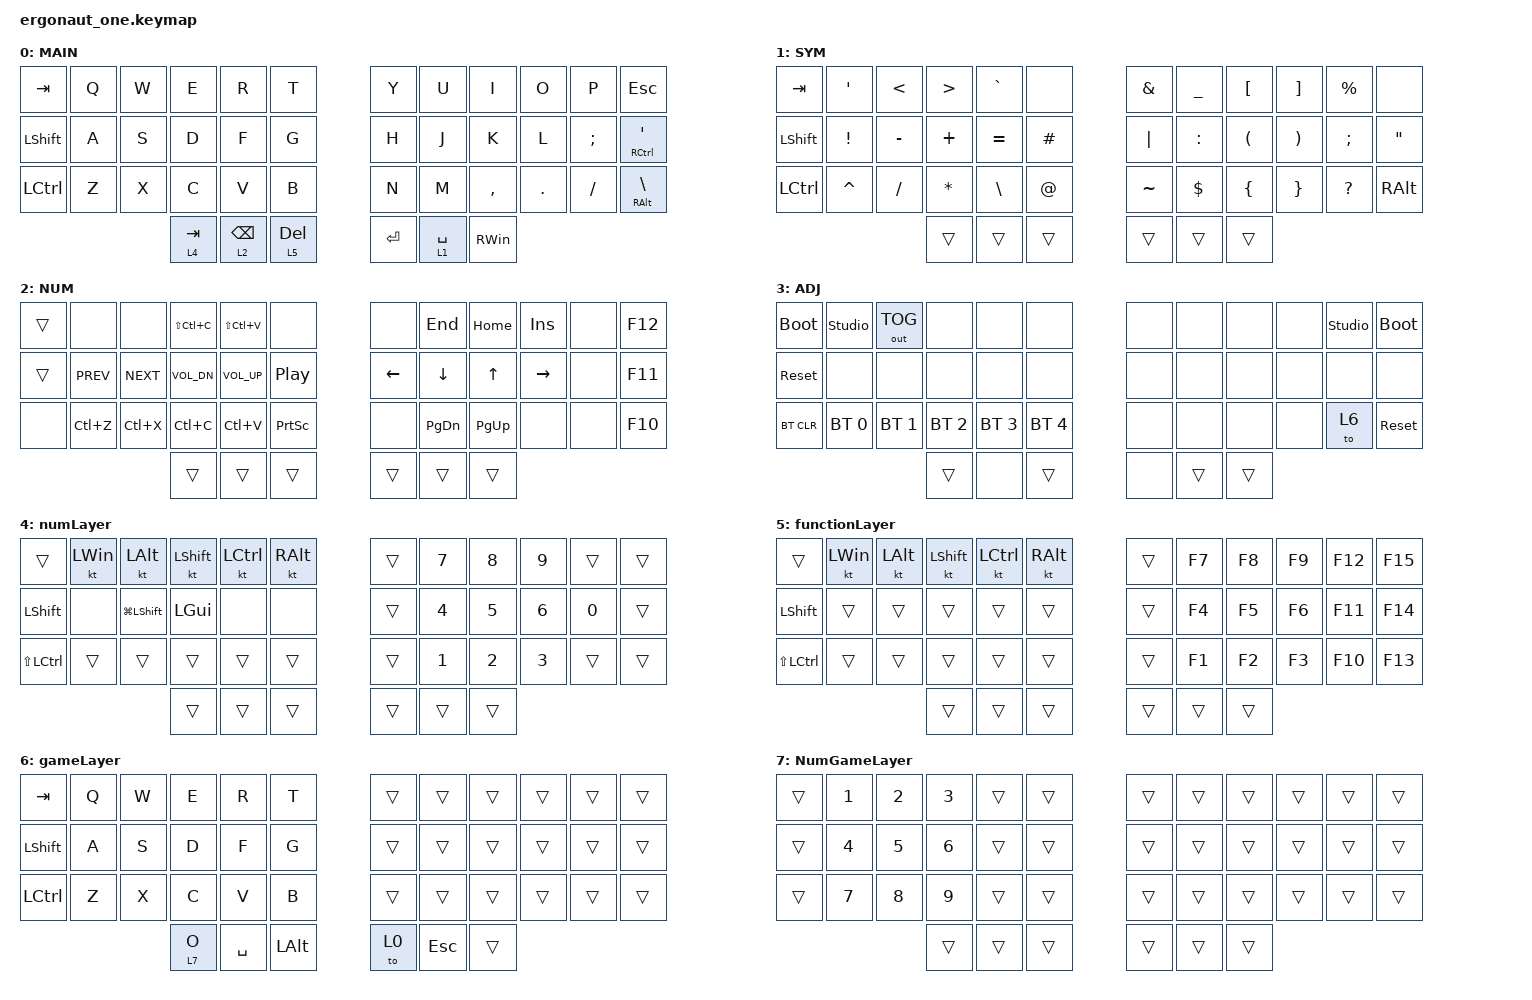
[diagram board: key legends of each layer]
#include <behaviors.dtsi>
#include <dt-bindings/zmk/bt.h>
#include <dt-bindings/zmk/keys.h>
#include <dt-bindings/zmk/outputs.h>

#define DEF 0
#define LWR 1
#define RSE 2
#define ADJ 3

&lt { quick-tap-ms = <200>; };

&mt { quick-tap-ms = <200>; };

/ {
    conditional_layers {
        compatible = "zmk,conditional-layers";

        config {
            if-layers = <2 1>;
            then-layer = <3>;
        };
    };

    keymap {
        compatible = "zmk,keymap";

        default_layer {
            display-name = "MAIN";
            bindings = <
&kp TAB         &kp Q  &kp W  &kp E      &kp R            &kp T      &kp Y      &kp U        &kp I          &kp O    &kp P     &kp ESC
&kp LEFT_SHIFT  &kp A  &kp S  &kp D      &kp F            &kp G      &kp H      &kp J        &kp K          &kp L    &kp SEMI  &mt RCTRL SQT
&kp LCTRL       &kp Z  &kp X  &kp C      &kp V            &kp B      &kp N      &kp M        &kp COMMA      &kp DOT  &kp FSLH  &mt RIGHT_ALT BACKSLASH
                              &lt 4 TAB  &lt 2 BACKSPACE  &lt 5 DEL  &kp ENTER  &lt 1 SPACE  &kp RIGHT_WIN
            >;
        };

        symbolLayer {
            display-name = "SYM";
            bindings = <
&kp TAB         &kp SQT          &kp LESS_THAN  &kp GREATER_THAN  &kp GRAVE      &none        &kp AMPERSAND  &kp UNDERSCORE  &kp LEFT_BRACKET      &kp RIGHT_BRACKET      &kp PERCENT    &none
&kp LEFT_SHIFT  &kp EXCLAMATION  &kp MINUS      &kp PLUS          &kp EQUAL      &kp HASH     &kp PIPE       &kp COLON       &kp LEFT_PARENTHESIS  &kp RIGHT_PARENTHESIS  &kp SEMICOLON  &kp DOUBLE_QUOTES
&kp LCTRL       &kp CARET        &kp SLASH      &kp ASTERISK      &kp BACKSLASH  &kp AT_SIGN  &kp TILDE      &kp DOLLAR      &kp LEFT_BRACE        &kp RIGHT_BRACE        &kp QUESTION   &kp RALT
                                                &trans            &trans         &trans       &trans         &trans          &trans
            >;
        };

        navigationLayer {
            display-name = "NUM";
            bindings = <
&trans  &none       &none       &kp LS(LC(C))  &kp LS(LC(V))  &none             &none           &kp END         &kp HOME      &kp INS    &none  &kp F12
&trans  &kp C_PREV  &kp C_NEXT  &kp C_VOL_DN   &kp C_VOL_UP   &kp C_PLAY_PAUSE  &kp LEFT_ARROW  &kp DOWN_ARROW  &kp UP_ARROW  &kp RIGHT  &none  &kp F11
&none   &kp LC(Z)   &kp LC(X)   &kp LC(C)      &kp LC(V)      &kp PRINTSCREEN   &none           &kp PAGE_DOWN   &kp PAGE_UP   &none      &none  &kp F10
                                &trans         &trans         &trans            &trans          &trans          &trans
            >;
        };

        configLayer {
            display-name = "ADJ";
            bindings = <
&bootloader  &studio_unlock  &out OUT_TOG  &none         &none         &none         &none  &none   &none   &none  &studio_unlock  &bootloader
&sys_reset   &none           &none         &none         &none         &none         &none  &none   &none   &none  &none           &none
&bt BT_CLR   &bt BT_SEL 0    &bt BT_SEL 1  &bt BT_SEL 2  &bt BT_SEL 3  &bt BT_SEL 4  &none  &none   &none   &none  &to 6           &sys_reset
                                           &trans        &none         &trans        &none  &trans  &trans
            >;
        };

        numLayer {
            bindings = <
&trans          &kt LEFT_WIN  &kt LEFT_ALT        &kt LSHFT     &kt LCTRL  &kt RIGHT_ALT  &trans  &kp N7        &kp NUMBER_8  &kp NUMBER_9  &trans        &trans
&kp LEFT_SHIFT  &none         &kp LG(LEFT_SHIFT)  &kp LEFT_GUI  &none      &none          &trans  &kp NUMBER_4  &kp N5        &kp NUMBER_6  &kp NUMBER_0  &trans
&kp LS(LCTRL)   &trans        &trans              &trans        &trans     &trans         &trans  &kp NUMBER_1  &kp NUMBER_2  &kp NUMBER_3  &trans        &trans
                                                  &trans        &trans     &trans         &trans  &trans        &trans
            >;
        };

        functionLayer {
            bindings = <
&trans          &kt LEFT_WIN  &kt LEFT_ALT  &kt LEFT_SHIFT  &kt LCTRL  &kt RIGHT_ALT  &trans  &kp F7  &kp F8  &kp F9  &kp F12  &kp F15
&kp LEFT_SHIFT  &trans        &trans        &trans          &trans     &trans         &trans  &kp F4  &kp F5  &kp F6  &kp F11  &kp F14
&kp LS(LCTRL)   &trans        &trans        &trans          &trans     &trans         &trans  &kp F1  &kp F2  &kp F3  &kp F10  &kp F13
                                            &trans          &trans     &trans         &trans  &trans  &trans
            >;
        };

        gameLayer {
            bindings = <
&kp TAB         &kp Q  &kp W  &kp E    &kp R      &kp T         &trans  &trans   &trans  &trans  &trans  &trans
&kp LEFT_SHIFT  &kp A  &kp S  &kp D    &kp F      &kp G         &trans  &trans   &trans  &trans  &trans  &trans
&kp LCTRL       &kp Z  &kp X  &kp C    &kp V      &kp B         &trans  &trans   &trans  &trans  &trans  &trans
                              &lt 7 O  &kp SPACE  &kp LEFT_ALT  &to 0   &kp ESC  &trans
            >;
        };

        NumGameLayer {
            bindings = <
&trans  &kp NUMBER_1  &kp NUMBER_2  &kp NUMBER_3  &trans  &trans  &trans  &trans  &trans  &trans  &trans  &trans
&trans  &kp NUMBER_4  &kp N5        &kp NUMBER_6  &trans  &trans  &trans  &trans  &trans  &trans  &trans  &trans
&trans  &kp N7        &kp N8        &kp N9        &trans  &trans  &trans  &trans  &trans  &trans  &trans  &trans
                                    &trans        &trans  &trans  &trans  &trans  &trans
            >;
        };
    };
};
